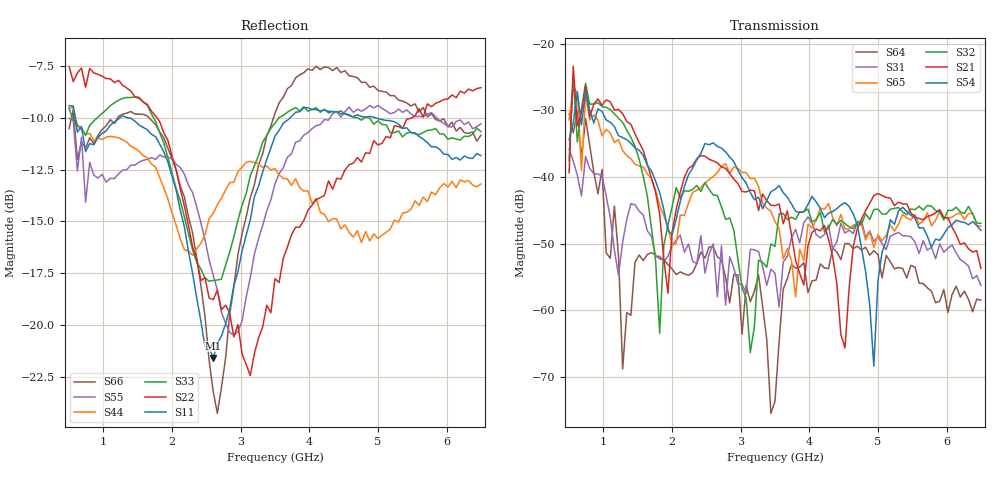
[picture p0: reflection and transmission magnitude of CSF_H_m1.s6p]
!Keysight Technologies,M9804A,MY58100912,A.14.10.03
!Date: Thursday, April 27, 2023 10:28:33
!Correction: S11(C  6-Port  )
!S12(C  6-Port  )
!S13(C  6-Port  )
!S14(C  6-Port  )
!S15(C  6-Port  )
!S16(C  6-Port  )
!S21(C  6-Port  )
!S22(C  6-Port  )
!S23(C  6-Port  )
!S24(C  6-Port  )
!S25(C  6-Port  )
!S26(C  6-Port  )
!S31(C  6-Port  )
!S32(C  6-Port  )
!S33(C  6-Port  )
!S34(C  6-Port  )
!S35(C  6-Port  )
!S36(C  6-Port  )
!S41(C  6-Port  )
!S42(C  6-Port  )
!S43(C  6-Port  )
!S44(C  6-Port  )
!S45(C  6-Port  )
!S46(C  6-Port  )
!S51(C  6-Port  )
!S52(C  6-Port  )
!S53(C  6-Port  )
!S54(C  6-Port  )
!S55(C  6-Port  )
!S56(C  6-Port  )
!S61(C  6-Port  )
!S62(C  6-Port  )
!S63(C  6-Port  )
!S64(C  6-Port  )
!S65(C  6-Port  )
!S66(C  6-Port  )
!S6P File: Measurement: :
# Hz S  RI  R 50
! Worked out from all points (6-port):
!   101 points, 500 MHz to 6.5 GHz, reference 50 ohm
!   strongest paths, dB at 500 MHz, 2 GHz, 3.5 GHz, 5 GHz, 6.5 GHz:
!     S54: -34.4, -48.7, -41.9, -55.6, -48.0
!     S21: -39.3, -48.3, -44.3, -42.5, -53.7
!     S32: -37.5, -44.5, -50.4, -44.8, -46.9
!     S65: -31.4, -50.2, -46.7, -48.6, -47.4
!     S31: -35.8, -50.3, -54.4, -48.9, -56.2
!     S64: -30.5, -53.8, -73.6, -51.6, -58.5
!   lowest |S11| = -21.6 dB at 2.6 GHz (marker M1), VSWR 1.18, Z = 42.6 + j2.07 ohm
!   |S11| at or under -10 dB: 587.9 MHz to 1.237 GHz (649.3 MHz wide, 71.2 % of centre); 1.382 GHz to 3.714 GHz (2.333 GHz wide, 91.6 % of centre); 4.975 GHz to end of sweep
